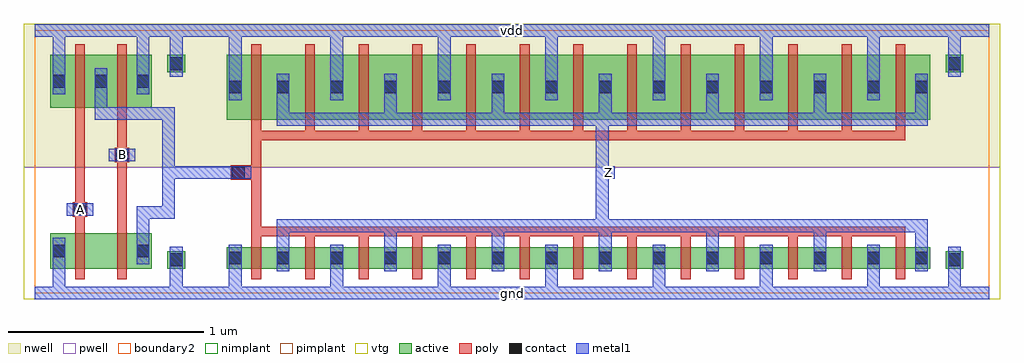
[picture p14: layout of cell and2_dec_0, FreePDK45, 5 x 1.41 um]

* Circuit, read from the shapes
.subckt and2_dec_0 A B Z gnd vdd
M1 pnand2_0/nmos_m1_w0_180_sm1_dactive_2/D A gnd gnd nfet w=0.18u l=0.05u
M2 pinv_0_1/A B pnand2_0/nmos_m1_w0_180_sm1_dactive_2/D gnd nfet w=0.18u l=0.05u
M3 Z pinv_0_1/A gnd gnd nfet w=0.11u l=0.05u m=13
M4 pinv_0_1/A A vdd vdd pfet w=0.27u l=0.05u
M5 vdd B pinv_0_1/A vdd pfet w=0.27u l=0.05u
M6 Z pinv_0_1/A vdd vdd pfet w=0.3325u l=0.05u m=13
.ends

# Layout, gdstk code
import gdstk
lib = gdstk.Library(unit=1e-6, precision=5e-10)
def R(c, l, rs):  # rectangles x0, y0, x1, y1
    for r in rs: c.add(gdstk.rectangle(r[:2], r[2:], *l))
def A(c, l, x, y, w, h, nx, ny, dx, dy):  # array of equal rectangles
    R(c, l, [(x+i*dx, y+j*dy, x+i*dx+w, y+j*dy+h) for i in range(nx) for j in range(ny)])
active = (1, 0)
pwell = (2, 0)
nwell = (3, 0)
nimplant = (4, 0)
pimplant = (5, 0)
vtg = (6, 0)
poly = (9, 0)
contact = (10, 0)
metal1 = (11, 0)
boundary2 = (239, 0)

contact_10 = lib.new_cell('contact_10')
R(contact_10, active, [(0,0.0225,0.09,0.1125)])
R(contact_10, nwell, [(-0.055,-0.0325,0.145,0.1675)])
R(contact_10, pimplant, [(0,0.0225,0.09,0.1125)])
R(contact_10, contact, [(0.0125,0.035,0.0775,0.1)])
R(contact_10, metal1, [(0.0125,0,0.0775,0.135)])
R(contact_10, boundary2, [(-0.055,-0.0325,0.145,0.1675)])

pmos_m1_w0_270_sm1_dm1 = lib.new_cell('pmos_m1_w0_270_sm1_dm1')
R(pmos_m1_w0_270_sm1_dm1, active, [(0,0,0.305,0.27)])
R(pmos_m1_w0_270_sm1_dm1, nwell, [(-0.08,-0.08,0.385,0.35)])
R(pmos_m1_w0_270_sm1_dm1, pimplant, [(0,0,0.305,0.27)])
R(pmos_m1_w0_270_sm1_dm1, vtg, [(-0.08,-0.08,0.385,0.35)])
R(pmos_m1_w0_270_sm1_dm1, poly, [(0.1275,-0.055,0.1775,0.325), (0.1275,-0.055,0.1775,0.325)])
R(pmos_m1_w0_270_sm1_dm1, metal1, [(0.0125,0.0675,0.0775,0.2025), (0.2275,0.0675,0.2925,0.2025)])
R(pmos_m1_w0_270_sm1_dm1, boundary2, [(-0.08,-0.08,0.385,0.35)])
pmos_m1_w0_270_sm1_dm1.add(gdstk.Reference(contact_10, (0,0.0675)))
pmos_m1_w0_270_sm1_dm1.add(gdstk.Reference(contact_10, (0.215,0.0675)))
pmos_m1_w0_270_sm1_dm1.add(gdstk.Label('S', (0.045,0.135), layer=11, texttype=0))
pmos_m1_w0_270_sm1_dm1.add(gdstk.Label('D', (0.26,0.135), layer=11, texttype=0))
pmos_m1_w0_270_sm1_dm1.add(gdstk.Label('G', (0.1525,0.135), layer=9, texttype=0))

contact_9 = lib.new_cell('contact_9')
R(contact_9, active, [(0,0.0225,0.09,0.1125)])
R(contact_9, pwell, [(-0.055,-0.0325,0.145,0.1675)])
R(contact_9, nimplant, [(0,0.0225,0.09,0.1125)])
R(contact_9, contact, [(0.0125,0.035,0.0775,0.1)])
R(contact_9, metal1, [(0.0125,0,0.0775,0.135)])
R(contact_9, boundary2, [(-0.055,-0.0325,0.145,0.1675)])

nmos_m1_w0_180_sm1_dacti = lib.new_cell('nmos_m1_w0_180_sm1_dactive')
R(nmos_m1_w0_180_sm1_dacti, active, [(0,0,0.305,0.18), (0.215,0.045,0.305,0.135)])
R(nmos_m1_w0_180_sm1_dacti, pwell, [(-0.08,-0.08,0.385,0.26)])
R(nmos_m1_w0_180_sm1_dacti, nimplant, [(0,0,0.305,0.18)])
R(nmos_m1_w0_180_sm1_dacti, vtg, [(-0.08,-0.08,0.385,0.26)])
R(nmos_m1_w0_180_sm1_dacti, poly, [(0.1275,-0.055,0.1775,0.235), (0.1275,-0.055,0.1775,0.235)])
R(nmos_m1_w0_180_sm1_dacti, metal1, [(0.0125,0.0225,0.0775,0.1575)])
R(nmos_m1_w0_180_sm1_dacti, boundary2, [(-0.08,-0.08,0.385,0.26)])
nmos_m1_w0_180_sm1_dacti.add(gdstk.Reference(contact_9, (0,0.0225)))
nmos_m1_w0_180_sm1_dacti.add(gdstk.Label('S', (0.045,0.09), layer=11, texttype=0))
nmos_m1_w0_180_sm1_dacti.add(gdstk.Label('D', (0.26,0.09), layer=1, texttype=0))
nmos_m1_w0_180_sm1_dacti.add(gdstk.Label('G', (0.1525,0.09), layer=9, texttype=0))

nmos_m1_w0_180_sactive_d = lib.new_cell('nmos_m1_w0_180_sactive_dm1')
R(nmos_m1_w0_180_sactive_d, active, [(0,0,0.305,0.18), (0,0.045,0.09,0.135)])
R(nmos_m1_w0_180_sactive_d, pwell, [(-0.08,-0.08,0.385,0.26)])
R(nmos_m1_w0_180_sactive_d, nimplant, [(0,0,0.305,0.18)])
R(nmos_m1_w0_180_sactive_d, vtg, [(-0.08,-0.08,0.385,0.26)])
R(nmos_m1_w0_180_sactive_d, poly, [(0.1275,-0.055,0.1775,0.235), (0.1275,-0.055,0.1775,0.235)])
R(nmos_m1_w0_180_sactive_d, metal1, [(0.2275,0.0225,0.2925,0.1575)])
R(nmos_m1_w0_180_sactive_d, boundary2, [(-0.08,-0.08,0.385,0.26)])
nmos_m1_w0_180_sactive_d.add(gdstk.Reference(contact_9, (0.215,0.0225)))
nmos_m1_w0_180_sactive_d.add(gdstk.Label('D', (0.26,0.09), layer=11, texttype=0))
nmos_m1_w0_180_sactive_d.add(gdstk.Label('S', (0.045,0.09), layer=1, texttype=0))
nmos_m1_w0_180_sactive_d.add(gdstk.Label('G', (0.1525,0.09), layer=9, texttype=0))

contact_11 = lib.new_cell('contact_11')
R(contact_11, active, [(0,0.0225,0.09,0.1125)])
R(contact_11, nwell, [(-0.055,-0.0325,0.145,0.1675)])
R(contact_11, nimplant, [(0,0.0225,0.09,0.1125)])
R(contact_11, contact, [(0.0125,0.035,0.0775,0.1)])
R(contact_11, metal1, [(0.0125,0,0.0775,0.135)])
R(contact_11, boundary2, [(-0.055,-0.0325,0.145,0.1675)])

contact_12 = lib.new_cell('contact_12')
R(contact_12, active, [(0,0.0225,0.09,0.1125)])
R(contact_12, pwell, [(-0.055,-0.0325,0.145,0.1675)])
R(contact_12, pimplant, [(0,0.0225,0.09,0.1125)])
R(contact_12, contact, [(0.0125,0.035,0.0775,0.1)])
R(contact_12, metal1, [(0.0125,0,0.0775,0.135)])
R(contact_12, boundary2, [(-0.055,-0.0325,0.145,0.1675)])

contact_13 = lib.new_cell('contact_13')
R(contact_13, poly, [(0.03,0,0.105,0.075)])
R(contact_13, contact, [(0.035,0.005,0.1,0.07)])
R(contact_13, metal1, [(0,0.005,0.135,0.07)])
R(contact_13, boundary2, [(0,0,0.135,0.075)])

pnand2 = lib.new_cell('pnand2')
R(pnand2, pwell, [(-0.055,-0.0325,0.9575,0.645)])
R(pnand2, nwell, [(-0.055,0.645,0.9575,1.38)])
R(pnand2, vtg, [(-0.055,-0.0325,0.9575,0.645), (-0.055,0.645,0.9575,1.38)])
R(pnand2, poly, [(0.2075,0.36,0.2575,0.895), (0.4225,0.36,0.4725,0.895), (0.2075,0.39,0.2325,0.465), (0.4225,0.67,0.4475,0.745)])
R(pnand2, metal1, [(0,-0.0325,0.9025,0.0325), (0.0925,-0.0325,0.1575,0.1475), (0.6925,0,0.7575,0.17), (0.5225,0.2825,0.5875,0.4125), (0.5225,0.38,0.5875,0.445), (0.555,0.38,0.685,0.445), (0.6525,0.38,0.7175,0.445), (0.165,0.395,0.3,0.46), (0.6525,0.4125,0.7175,0.92), (0.38,0.675,0.515,0.74), (0.3075,0.8875,0.3725,0.9525), (0.34,0.8875,0.685,0.9525), (0.6525,0.8875,0.7175,0.9525), (0.3075,0.92,0.3725,1.0175), (0.0925,1.0175,0.1575,1.3775), (0.5225,1.0175,0.5875,1.3775), (0.6925,1.175,0.7575,1.345), (0,1.3125,0.9025,1.3775)])
R(pnand2, boundary2, [(0,0,0.9025,1.345), (0,0,0.9025,1.345)])
pnand2.add(gdstk.Reference(pmos_m1_w0_270_sm1_dm1, (0.08,0.95)))
pnand2.add(gdstk.Reference(pmos_m1_w0_270_sm1_dm1, (0.295,0.95)))
pnand2.add(gdstk.Reference(nmos_m1_w0_180_sm1_dacti, (0.08,0.125)))
pnand2.add(gdstk.Reference(nmos_m1_w0_180_sactive_d, (0.295,0.125)))
pnand2.add(gdstk.Reference(contact_11, (0.68,1.1075)))
pnand2.add(gdstk.Reference(contact_12, (0.68,0.1025)))
pnand2.add(gdstk.Reference(contact_13, (0.165,0.39)))
pnand2.add(gdstk.Reference(contact_13, (0.38,0.67)))
pnand2.add(gdstk.Label('Z', (0.685,0.92), layer=11, texttype=0))
pnand2.add(gdstk.Label('gnd', (0.451,0), layer=11, texttype=0))
pnand2.add(gdstk.Label('vdd', (0.451,1.345), layer=11, texttype=0))
pnand2.add(gdstk.Label('A', (0.2325,0.4275), layer=11, texttype=0))
pnand2.add(gdstk.Label('B', (0.4475,0.7075), layer=11, texttype=0))

pmos_m13_w0_333_sm1_dm1_ = lib.new_cell('pmos_m13_w0_333_sm1_dm1_da_p')
R(pmos_m13_w0_333_sm1_dm1_, active, [(0,0,3.605,0.3325)])
R(pmos_m13_w0_333_sm1_dm1_, nwell, [(-0.08,-0.08,3.685,0.4125)])
R(pmos_m13_w0_333_sm1_dm1_, pimplant, [(0,0,3.605,0.3325)])
R(pmos_m13_w0_333_sm1_dm1_, vtg, [(-0.08,-0.08,3.685,0.4125)])
A(pmos_m13_w0_333_sm1_dm1_, poly, 0.1275, -0.055, 0.05, 0.4425, 13, 1, 0.275, 0)
R(pmos_m13_w0_333_sm1_dm1_, poly, [(0.1275,-0.105,3.4775,-0.055)])
A(pmos_m13_w0_333_sm1_dm1_, metal1, 0.2575, 0, 0.065, 0.165, 6, 1, 0.55, 0)
A(pmos_m13_w0_333_sm1_dm1_, metal1, 0.5325, 0.1, 0.065, 0.135, 6, 1, 0.55, 0)
R(pmos_m13_w0_333_sm1_dm1_, metal1, [(0.2575,-0.03,3.5925,0.035), (3.5275,0,3.5925,0.165), (0.0125,0.1,0.0775,0.235)])
R(pmos_m13_w0_333_sm1_dm1_, boundary2, [(-0.08,-0.105,3.685,0.4125)])
pmos_m13_w0_333_sm1_dm1_.add(gdstk.Reference(contact_10, (0,0.1)))
pmos_m13_w0_333_sm1_dm1_.add(gdstk.Reference(contact_10, (0.245,0.1)))
pmos_m13_w0_333_sm1_dm1_.add(gdstk.Reference(contact_10, (0.52,0.1)))
pmos_m13_w0_333_sm1_dm1_.add(gdstk.Reference(contact_10, (0.795,0.1)))
pmos_m13_w0_333_sm1_dm1_.add(gdstk.Reference(contact_10, (1.07,0.1)))
pmos_m13_w0_333_sm1_dm1_.add(gdstk.Reference(contact_10, (1.345,0.1)))
pmos_m13_w0_333_sm1_dm1_.add(gdstk.Reference(contact_10, (1.62,0.1)))
pmos_m13_w0_333_sm1_dm1_.add(gdstk.Reference(contact_10, (1.895,0.1)))
pmos_m13_w0_333_sm1_dm1_.add(gdstk.Reference(contact_10, (2.17,0.1)))
pmos_m13_w0_333_sm1_dm1_.add(gdstk.Reference(contact_10, (2.445,0.1)))
pmos_m13_w0_333_sm1_dm1_.add(gdstk.Reference(contact_10, (2.72,0.1)))
pmos_m13_w0_333_sm1_dm1_.add(gdstk.Reference(contact_10, (2.995,0.1)))
pmos_m13_w0_333_sm1_dm1_.add(gdstk.Reference(contact_10, (3.27,0.1)))
pmos_m13_w0_333_sm1_dm1_.add(gdstk.Reference(contact_10, (3.515,0.1)))
pmos_m13_w0_333_sm1_dm1_.add(gdstk.Label('S', (0.565,0.1675), layer=11, texttype=0))
pmos_m13_w0_333_sm1_dm1_.add(gdstk.Label('S', (2.215,0.1675), layer=11, texttype=0))
pmos_m13_w0_333_sm1_dm1_.add(gdstk.Label('S', (2.765,0.1675), layer=11, texttype=0))
pmos_m13_w0_333_sm1_dm1_.add(gdstk.Label('S', (0.045,0.1675), layer=11, texttype=0))
pmos_m13_w0_333_sm1_dm1_.add(gdstk.Label('S', (3.315,0.1675), layer=11, texttype=0))
pmos_m13_w0_333_sm1_dm1_.add(gdstk.Label('S', (1.665,0.1675), layer=11, texttype=0))
pmos_m13_w0_333_sm1_dm1_.add(gdstk.Label('S', (1.115,0.1675), layer=11, texttype=0))
pmos_m13_w0_333_sm1_dm1_.add(gdstk.Label('D', (1.925,0.0025), layer=11, texttype=0))
pmos_m13_w0_333_sm1_dm1_.add(gdstk.Label('G', (1.8025,-0.08), layer=9, texttype=0))

nmos_m13_w0_110_sm1_dm1_ = lib.new_cell('nmos_m13_w0_110_sm1_dm1_da_p')
R(nmos_m13_w0_110_sm1_dm1_, active, [(0,0,3.605,0.11)])
R(nmos_m13_w0_110_sm1_dm1_, pwell, [(-0.08,-0.08,3.685,0.19)])
R(nmos_m13_w0_110_sm1_dm1_, nimplant, [(0,0,3.605,0.11)])
R(nmos_m13_w0_110_sm1_dm1_, vtg, [(-0.08,-0.08,3.685,0.19)])
A(nmos_m13_w0_110_sm1_dm1_, poly, 0.1275, -0.055, 0.05, 0.22, 13, 1, 0.275, 0)
R(nmos_m13_w0_110_sm1_dm1_, poly, [(0.1275,0.165,3.4775,0.215)])
A(nmos_m13_w0_110_sm1_dm1_, metal1, 0.5325, -0.0125, 0.065, 0.135, 6, 1, 0.55, 0)
A(nmos_m13_w0_110_sm1_dm1_, metal1, 0.2575, 0.055, 0.065, 0.165, 6, 1, 0.55, 0)
R(nmos_m13_w0_110_sm1_dm1_, metal1, [(0.0125,-0.0125,0.0775,0.1225), (3.5275,0.055,3.5925,0.22), (0.2575,0.1875,3.5925,0.2525)])
R(nmos_m13_w0_110_sm1_dm1_, boundary2, [(-0.08,-0.08,3.685,0.2525)])
nmos_m13_w0_110_sm1_dm1_.add(gdstk.Reference(contact_9, (0,-0.0125)))
nmos_m13_w0_110_sm1_dm1_.add(gdstk.Reference(contact_9, (0.245,-0.0125)))
nmos_m13_w0_110_sm1_dm1_.add(gdstk.Reference(contact_9, (0.52,-0.0125)))
nmos_m13_w0_110_sm1_dm1_.add(gdstk.Reference(contact_9, (0.795,-0.0125)))
nmos_m13_w0_110_sm1_dm1_.add(gdstk.Reference(contact_9, (1.07,-0.0125)))
nmos_m13_w0_110_sm1_dm1_.add(gdstk.Reference(contact_9, (1.345,-0.0125)))
nmos_m13_w0_110_sm1_dm1_.add(gdstk.Reference(contact_9, (1.62,-0.0125)))
nmos_m13_w0_110_sm1_dm1_.add(gdstk.Reference(contact_9, (1.895,-0.0125)))
nmos_m13_w0_110_sm1_dm1_.add(gdstk.Reference(contact_9, (2.17,-0.0125)))
nmos_m13_w0_110_sm1_dm1_.add(gdstk.Reference(contact_9, (2.445,-0.0125)))
nmos_m13_w0_110_sm1_dm1_.add(gdstk.Reference(contact_9, (2.72,-0.0125)))
nmos_m13_w0_110_sm1_dm1_.add(gdstk.Reference(contact_9, (2.995,-0.0125)))
nmos_m13_w0_110_sm1_dm1_.add(gdstk.Reference(contact_9, (3.27,-0.0125)))
nmos_m13_w0_110_sm1_dm1_.add(gdstk.Reference(contact_9, (3.515,-0.0125)))
nmos_m13_w0_110_sm1_dm1_.add(gdstk.Label('S', (1.665,0.055), layer=11, texttype=0))
nmos_m13_w0_110_sm1_dm1_.add(gdstk.Label('S', (2.765,0.055), layer=11, texttype=0))
nmos_m13_w0_110_sm1_dm1_.add(gdstk.Label('S', (1.115,0.055), layer=11, texttype=0))
nmos_m13_w0_110_sm1_dm1_.add(gdstk.Label('S', (0.565,0.055), layer=11, texttype=0))
nmos_m13_w0_110_sm1_dm1_.add(gdstk.Label('S', (3.315,0.055), layer=11, texttype=0))
nmos_m13_w0_110_sm1_dm1_.add(gdstk.Label('S', (0.045,0.055), layer=11, texttype=0))
nmos_m13_w0_110_sm1_dm1_.add(gdstk.Label('S', (2.215,0.055), layer=11, texttype=0))
nmos_m13_w0_110_sm1_dm1_.add(gdstk.Label('D', (1.925,0.22), layer=11, texttype=0))
nmos_m13_w0_110_sm1_dm1_.add(gdstk.Label('G', (1.8025,0.19), layer=9, texttype=0))

pinv_0 = lib.new_cell('pinv_0')
R(pinv_0, pwell, [(-0.055,-0.0325,4.0425,0.645)])
R(pinv_0, nwell, [(-0.055,0.645,4.0425,1.38)])
R(pinv_0, vtg, [(-0.055,-0.0325,4.0425,0.645), (-0.055,0.645,4.0425,1.38)])
R(pinv_0, poly, [(0.2075,0.34,0.2575,0.7825), (0.14,0.58,0.2075,0.655)])
A(pinv_0, metal1, 0.6125, -0.0325, 0.065, 0.145, 6, 1, 0.55, 0)
A(pinv_0, metal1, 0.6125, 0.9875, 0.065, 0.39, 6, 1, 0.55, 0)
R(pinv_0, metal1, [(0,-0.0325,3.9875,0.0325), (0.0925,-0.0325,0.1575,0.1125), (3.7775,0,3.8425,0.17), (1.9725,0.3125,2.0375,0.9225), (0.0725,0.585,0.2075,0.65), (2.005,0.585,2.07,0.65), (0.0925,0.9875,0.1575,1.3775), (3.7775,1.175,3.8425,1.345), (0,1.3125,3.9875,1.3775)])
R(pinv_0, boundary2, [(0,0,3.9875,1.345), (0,0,3.9875,1.345)])
pinv_0.add(gdstk.Reference(pmos_m13_w0_333_sm1_dm1_, (0.08,0.8875)))
pinv_0.add(gdstk.Reference(nmos_m13_w0_110_sm1_dm1_, (0.08,0.125)))
pinv_0.add(gdstk.Reference(contact_11, (3.765,1.1075)))
pinv_0.add(gdstk.Reference(contact_12, (3.765,0.1025)))
pinv_0.add(gdstk.Reference(contact_13, (0.0725,0.58)))
pinv_0.add(gdstk.Label('A', (0.14,0.6175), layer=11, texttype=0))
pinv_0.add(gdstk.Label('Z', (2.0375,0.6175), layer=11, texttype=0))
pinv_0.add(gdstk.Label('gnd', (1.994,0), layer=11, texttype=0))
pinv_0.add(gdstk.Label('vdd', (1.994,1.345), layer=11, texttype=0))

and2_dec_0 = lib.new_cell('and2_dec_0')
R(and2_dec_0, metal1, [(0,-0.0325,4.89,0.0325), (0.165,0.395,0.3,0.46), (0.6525,0.585,0.7175,0.65), (0.685,0.585,1.0425,0.65), (2.9075,0.585,2.9725,0.65), (0.6525,0.6175,0.7175,0.92), (0.38,0.675,0.515,0.74), (0,1.3125,4.89,1.3775)])
R(and2_dec_0, boundary2, [(0,0,4.89,1.345)])
and2_dec_0.add(gdstk.Reference(pnand2, (0,0)))
and2_dec_0.add(gdstk.Reference(pinv_0, (0.9025,0)))
and2_dec_0.add(gdstk.Label('Z', (2.94,0.6175), layer=11, texttype=0))
and2_dec_0.add(gdstk.Label('A', (0.2325,0.4275), layer=11, texttype=0))
and2_dec_0.add(gdstk.Label('B', (0.4475,0.7075), layer=11, texttype=0))
and2_dec_0.add(gdstk.Label('gnd', (2.445,0), layer=11, texttype=0))
and2_dec_0.add(gdstk.Label('vdd', (2.445,1.345), layer=11, texttype=0))

lib.write_gds('and2_dec_0.gds')
